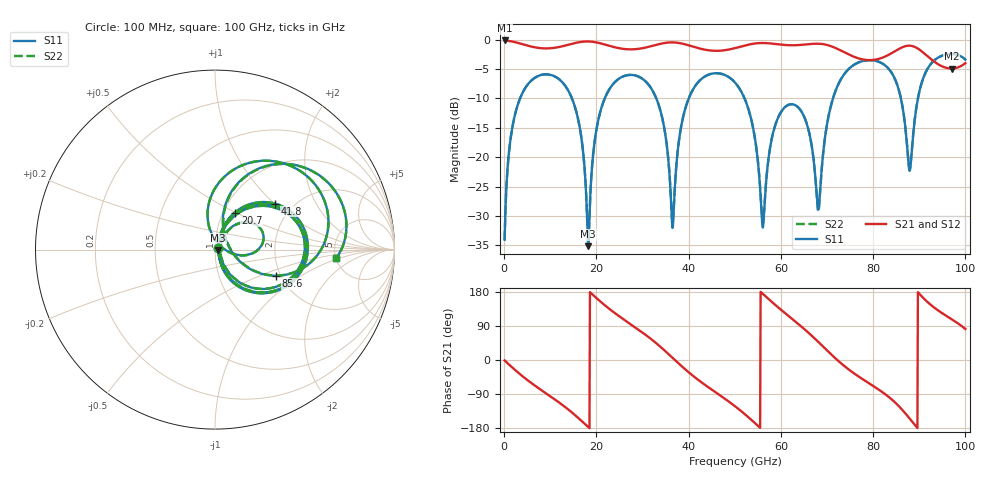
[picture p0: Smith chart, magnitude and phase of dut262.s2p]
! Touchstone file exported from HFSS 2026.1.0
!  File:  C:/ffzhzh/LocalFiles/Ansys_Project_Files/temp_train_TSV_RDL_262_1783673548_26216.aedt
!  Generated:  05:00:58 PM Jul 10, 2026
!  Design:  TSV_RDL
!  Project:  temp_train_TSV_RDL_262_1783673548_26216
! Variables:
!  h_bsmrdl = 2.21um
!  h_ox = 20um
!  h_rdl = 5um
!  h_sub = 70.99um
!  h_tmrdl = 2.84um
!  h_tsv = 70.99um
!  h_via = 3um
!  l_bsmrdl = 322.99um
!  l_sub = 3238.62um
!  l_tmrdl = 430.61um
!  m_sub = 200um
!  pitch = 58.7um
!  r_tsv = 14.82um
!  s_tmrdl = 10um
!  w_bsmrdl = 19.65um
!  w_sub = 500um
!  w_tmrdl = 29.42um
!  x_tsv_center1 = 445.32um
!  x_tsv_center2 = 787.96um
!  x_tsv_center3 = 1247.99um
!  x_tsv_center4 = 1590.63um
!  x_tsv_center5 = 2050.66um
!  x_tsv_center6 = 2393.3um
# GHz S MA R 50.000000
! Terminal data exported
! Port[1] = TM_RDL1_1_T1
! Port[2] = TM_RDL5_1_T1
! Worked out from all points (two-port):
!   1000 points, 100 MHz to 100 GHz, reference 50 ohm
!   highest |S21| = -0.14 dB at 100 MHz (marker M1); lowest = -4.9 dB at 97 GHz (marker M2)
!   |S21| within 3 dB of the highest: start of sweep to 76.64 GHz; 81.77 GHz to 92.27 GHz (10.51 GHz wide, 12.1 % of centre)
!   lowest |S11| = -35.1 dB at 18.2 GHz (marker M3), VSWR 1.04, Z = 51.8 - j0.278 ohm
!   |S11| at or under -10 dB: 14.7 GHz to 21.81 GHz (7.114 GHz wide, 39 % of centre); 32.98 GHz to 40.02 GHz (7.033 GHz wide, 19.3 % of centre); 52.12 GHz to 71.29 GHz (19.17 GHz wide, 31.1 % of centre) (the widest 3 of 5)
!   |S22| runs from -34.6 to -2.5 dB; largest |S21 - S12| = 1.7e-14
!   S11 on the Smith chart (normalised r, x): 100 MHz: 1.03, +0.02; 20.7 GHz: 1.14, +0.49; 41.8 GHz: 1.62, +1.01; 85.6 GHz: 1.88, -0.64; 100 GHz: 5.01, -0.90
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0.1  0.01985 34.1  0.9837 -1.2  0.9837 -1.2  0.01985 34.1
! Gamma 0 0 0 0
! Port Impedance 50 0 50 0
1.9  0.1904 62.3  0.9605 -21.3  0.9605 -21.3  0.1904 62.3
5.6  0.4371 29.3  0.8784 -58.1  0.8784 -58.1  0.4371 29.4
16.8  0.1412 -65.7  0.9576 -160.9  0.9576 -160.9  0.1413 -65.2
18.2  0.0175 -8.8  0.9642 -176.5  0.9642 -176.5  0.01871 -7.9
20.7  0.2316 60.9  0.9335 156.0  0.9335 156.0  0.2318 60.6
27.3  0.501 4.4  0.8262 95.4  0.8262 95.4  0.5011 4.5
33.4  0.2862 -47.1  0.9119 39.9  0.9119 39.9  0.2864 -46.7
36.5  0.02504 0.5  0.9472 5.9  0.9472 5.9  0.02722 0.7
41.8  0.4225 37.2  0.8527 -49.9  0.8527 -49.9  0.4225 37.0
50.1  0.4291 -30.9  0.8476 -122.4  0.8476 -122.4  0.4291 -30.8
56.1  0.02516 -2.0  0.9357 174.4  0.9357 174.4  0.02729 -2.5
60.4  0.2541 36.1  0.9038 128.7  0.9038 128.7  0.2541 35.6
66.7  0.1239 -13.1  0.9198 64.0  0.9198 64.0  0.1236 -13.8
68.2  0.03669 56.7  0.9224 46.7  0.9224 46.7  0.03547 57.0
72.1  0.3884 85.0  0.8396 1.3  0.8396 1.3  0.3883 85.0
83.4  0.5624 -4.4  0.744 -97.7  0.744 -97.7  0.5626 -4.3
85.6  0.3687 -23.3  0.8338 -122.1  0.8338 -122.1  0.3692 -23.0
87.9  0.07649 21.7  0.8881 -154.4  0.8881 -154.4  0.07936 21.7
91  0.4859 64.0  0.768 162.1  0.768 162.1  0.4861 63.7
97  0.753 17.5  0.5678 107.7  0.5678 107.7  0.7529 17.3
100  0.6761 -4.1  0.6308 81.7  0.6308 81.7  0.676 -4.2
